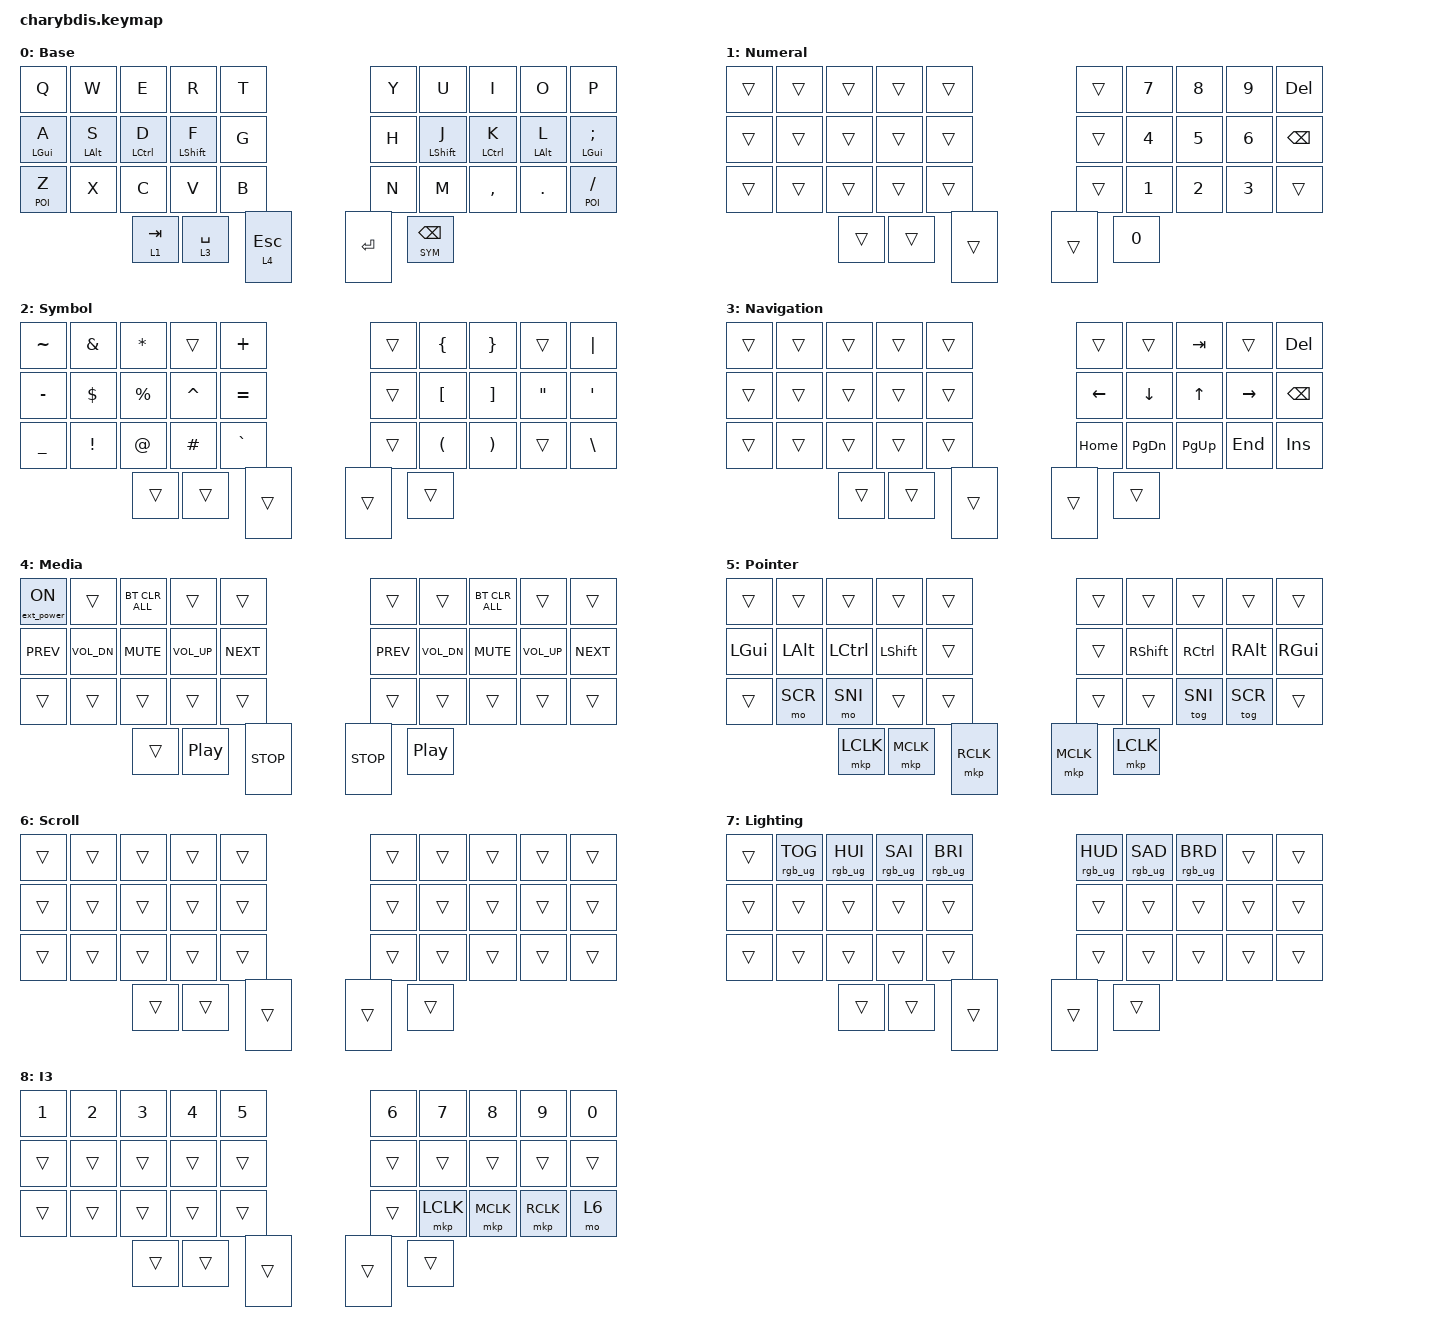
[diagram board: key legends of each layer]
#include <dt-bindings/zmk/mouse.h>
#include <input/processors.dtsi>
#include <input/processors/speed_scaler.dtsi>
#include <dt-bindings/zmk/input_transform.h>
#include <behaviors.dtsi>
#include <dt-bindings/zmk/bt.h>
#include <dt-bindings/zmk/ext_power.h>
#include <dt-bindings/zmk/keys.h>
#include <dt-bindings/zmk/pointing.h>
#include <dt-bindings/zmk/rgb.h>

#define BASE 0
#define NUFU 1
#define SYM 2
#define NAV 3
#define MED 4
#define POI 5
#define SCR 6
#define SNI 7

/ {
    trackball_listener {
        compatible = "zmk,input-listener";
        device = <&trackball_split>;
        input-processors = <&zip_xy_speed_scaler>;

        scroll {
            layers = <SCR>;
            input-processors =
                <&zip_xy_scaler 1 3>,
                <&zip_xy_to_scroll_mapper>,
                <&zip_scroll_transform (INPUT_TRANSFORM_Y_INVERT)>;
        };

        snipe {
            layers = <SNI>;
            input-processors = <&zip_xy_scaler 1 5>;
        };
    };

    behaviors {
        hml: left_homerow_mods {
            compatible = "zmk,behavior-hold-tap";
            #binding-cells = <2>;
            flavor = "tap-preferred";
            tapping-term-ms = <190>;
            quick-tap-ms = <140>;
            bindings = <&kp>, <&kp>;

            hold-trigger-key-positions = <
                5 6 7 8 9
                15 16 17 18 19
                25 26 27 28 29
                33 34
            >;

            retro-tap;
            require-prior-idle-ms = <120>;
        };

        hmr: right_homerow_mods {
            compatible = "zmk,behavior-hold-tap";
            #binding-cells = <2>;
            flavor = "tap-preferred";
            tapping-term-ms = <190>;
            quick-tap-ms = <140>;
            bindings = <&kp>, <&kp>;

            hold-trigger-key-positions = <
                0 1 2 3 4
                10 11 12 13 14
                20 21 22 23 24
                30 31 32
            >;

            retro-tap;
            require-prior-idle-ms = <120>;
        };

        lt: layer_tap {
            compatible = "zmk,behavior-hold-tap";
            #binding-cells = <2>;
            flavor = "tap-preferred";
            tapping-term-ms = <190>;
            quick-tap-ms = <140>;
            bindings = <&mo>, <&kp>;

            retro-tap;
            hold-trigger-on-release;
        };

        hmb: homerow_mods_balanced {
            compatible = "zmk,behavior-hold-tap";
            label = "Homerow mods balanced";
            bindings = <&kp>, <&kp>;

            #binding-cells = <2>;
            tapping-term-ms = <200>;
            quick-tap-ms = <150>;
            require-prior-idle-ms = <125>;
            flavor = "balanced";
            retro-tap;
            hold-trigger-on-release;
        };
    };

    combos {
        compatible = "zmk,combos";

        I3 {
            bindings = <&tog 8>;
            key-positions = <33 34>;
        };
    };

    keymap {
        compatible = "zmk,keymap";

        // 0

        Base {
            label = "Base";
            bindings = <
  &kp Q        &kp W        &kp E         &kp R          &kp T        &kp Y      &kp U              &kp I         &kp O        &kp P
  &hmb LGUI A  &hmb LALT S  &hmb LCTRL D  &hmb LSHIFT F  &kp G        &kp H      &hmb LSHIFT J      &hmb LCTRL K  &hmb LALT L  &hmb LGUI SEMICOLON
  &lt POI Z    &kp X        &kp C         &kp V          &kp B        &kp N      &kp M              &kp COMMA     &kp DOT      &lt POI SLASH
                            &lt 1 TAB     &lt 3 SPACE    &lt 4 ESC    &kp ENTER  &lt SYM BACKSPACE
            >;
        };

        // 1

        Num {
            label = "Numeral";
            bindings = <
  &trans  &trans  &trans  &trans  &trans    &trans  &kp N7  &kp N8  &kp N9  &kp DELETE
  &trans  &trans  &trans  &trans  &trans    &trans  &kp N4  &kp N5  &kp N6  &kp BACKSPACE
  &trans  &trans  &trans  &trans  &trans    &trans  &kp N1  &kp N2  &kp N3  &trans
                  &trans  &trans  &trans    &trans  &kp N0
            >;
        };

        // 2

        Symbol {
            label = "Symbol";
            bindings = <
  &kp TILDE  &kp AMPS  &kp STAR   &trans     &kp PLUS     &trans  &kp LBRC  &kp RBRC  &trans   &kp PIPE
  &kp MINUS  &kp DLLR  &kp PRCNT  &kp CARET  &kp EQUAL    &trans  &kp LBKT  &kp RBKT  &kp DQT  &kp APOS
  &kp UNDER  &kp EXCL  &kp AT     &kp HASH   &kp GRAVE    &trans  &kp LPAR  &kp RPAR  &trans   &kp BSLH
                       &trans     &trans     &trans       &trans  &trans
            >;
        };

        // 3

        Navigation {
            label = "Navigation";
            bindings = <
  &trans  &trans  &trans  &trans  &trans    &trans    &trans         &kp TAB      &trans     &kp DELETE
  &trans  &trans  &trans  &trans  &trans    &kp LEFT  &kp DOWN       &kp UP       &kp RIGHT  &kp BACKSPACE
  &trans  &trans  &trans  &trans  &trans    &kp HOME  &kp PAGE_DOWN  &kp PAGE_UP  &kp END    &kp INS
                  &trans  &trans  &trans    &trans    &trans
            >;
        };

        // 4

        Media {
            label = "Media";
            bindings = <
  &ext_power EP_ON  &trans        &bt BT_CLR_ALL  &trans            &trans        &trans      &trans            &bt BT_CLR_ALL  &trans        &trans
  &kp C_PREV        &kp C_VOL_DN  &kp C_MUTE      &kp C_VOL_UP      &kp C_NEXT    &kp C_PREV  &kp C_VOL_DN      &kp C_MUTE      &kp C_VOL_UP  &kp C_NEXT
  &trans            &trans        &trans          &trans            &trans        &trans      &trans            &trans          &trans        &trans
                                  &trans          &kp C_PLAY_PAUSE  &kp C_STOP    &kp C_STOP  &kp C_PLAY_PAUSE
            >;
        };

        // 5

        Pointer {
            label = "Pointer";
            bindings = <
  &trans    &trans    &trans     &trans      &trans       &trans     &trans     &trans     &trans    &trans
  &kp LGUI  &kp LALT  &kp LCTRL  &kp LSHIFT  &trans       &trans     &kp RSHFT  &kp RCTRL  &kp RALT  &kp RGUI
  &trans    &mo SCR   &mo SNI    &trans      &trans       &trans     &trans     &tog SNI   &tog SCR  &trans
                      &mkp LCLK  &mkp MCLK   &mkp RCLK    &mkp MCLK  &mkp LCLK
            >;
        };

        // 6

        Scroll {
            label = "Scroll";
            bindings = <
  &trans  &trans  &trans  &trans  &trans    &trans  &trans  &trans  &trans  &trans
  &trans  &trans  &trans  &trans  &trans    &trans  &trans  &trans  &trans  &trans
  &trans  &trans  &trans  &trans  &trans    &trans  &trans  &trans  &trans  &trans
                  &trans  &trans  &trans    &trans  &trans
            >;
        };

        // 7

        Lighting {
            label = "Lighting";
            bindings = <
  &trans  &rgb_ug RGB_TOG  &rgb_ug RGB_HUI  &rgb_ug RGB_SAI  &rgb_ug RGB_BRI    &rgb_ug RGB_HUD  &rgb_ug RGB_SAD  &rgb_ug RGB_BRD  &trans  &trans
  &trans  &trans           &trans           &trans           &trans             &trans           &trans           &trans           &trans  &trans
  &trans  &trans           &trans           &trans           &trans             &trans           &trans           &trans           &trans  &trans
                           &trans           &trans           &trans             &trans           &trans
            >;
        };

        I3 {
            bindings = <
  &kp NUMBER_1  &kp NUMBER_2  &kp NUMBER_3  &kp NUMBER_4  &kp NUMBER_5    &kp NUMBER_6  &kp NUMBER_7  &kp NUMBER_8  &kp NUMBER_9  &kp NUMBER_0
  &trans        &trans        &trans        &trans        &trans          &trans        &trans        &trans        &trans        &trans
  &trans        &trans        &trans        &trans        &trans          &trans        &mkp LCLK     &mkp MCLK     &mkp RCLK     &mo 6
                              &trans        &trans        &trans          &trans        &trans
            >;
        };
    };
};
